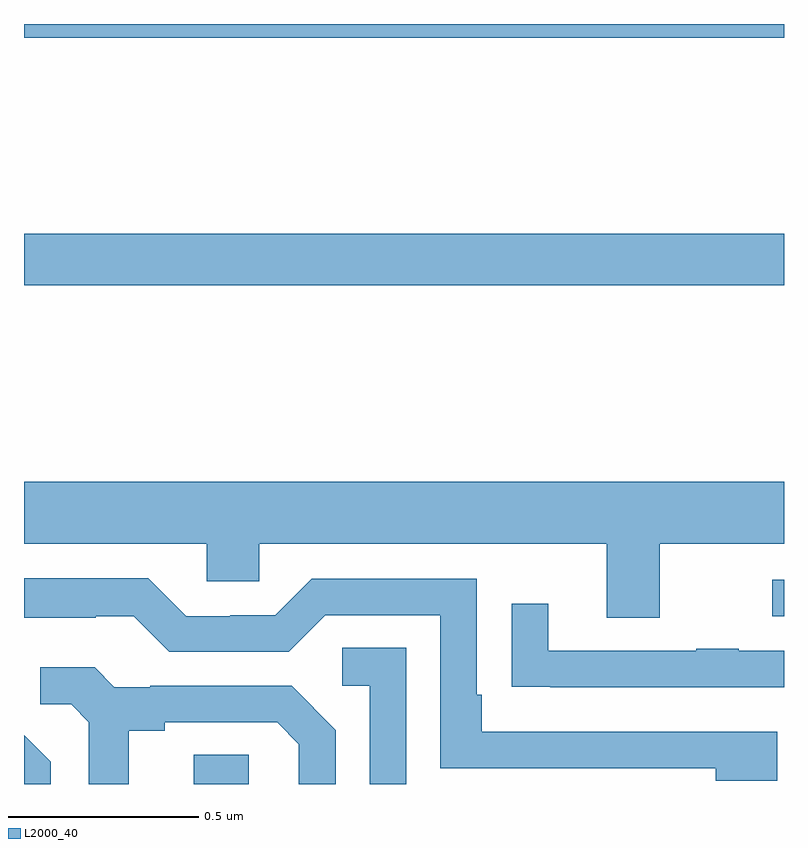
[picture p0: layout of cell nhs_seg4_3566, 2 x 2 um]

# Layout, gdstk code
import gdstk
lib = gdstk.Library(unit=1e-6, precision=1e-09)
def R(c, l, rs):  # rectangles x0, y0, x1, y1
    for r in rs: c.add(gdstk.rectangle(r[:2], r[2:], *l))
def P(c, l, *ps):  # polygons
    for p in ps: c.add(gdstk.Polygon(p, *l))
L2000_40 = (2000, 40)

nhs_seg4_3566 = lib.new_cell('nhs_seg4_3566')
R(nhs_seg4_3566, L2000_40, [(155.447,750.9,155.592,750.977), (156.969,751.341,157,751.437), (155,752.212,157,752.348), (155,752.864,157,752.9)])
P(nhs_seg4_3566, L2000_40, [(155,751.532),(155.481,751.532),(155.481,751.434),(155.619,751.434),(155.619,751.532),(156.533,751.532),(156.533,751.338),(156.673,751.338),(156.673,751.532),(157,751.532),(157,751.696),(155,751.696)],
  [(156.982,751.038),(156.205,751.038),(156.205,751.135),(156.192,751.135),(156.192,751.44),(155.757,751.44),(155.661,751.344),(155.543,751.344),(155.543,751.341),(155.427,751.341),(155.327,751.441),(155,751.441),(155,751.337),(155.189,751.337),(155.189,751.341),(155.289,751.341),(155.382,751.248),(155.697,751.248),(155.793,751.344),(156.096,751.344),(156.096,750.942),(156.821,750.942),(156.821,750.908),(156.982,750.908)],
  [(157,751.251),(156.881,751.251),(156.881,751.256),(156.769,751.256),(156.769,751.251),(156.379,751.251),(156.379,751.375),(156.283,751.375),(156.283,751.156),(156.385,751.156),(156.385,751.155),(157,751.155)],
  [(156.006,751.259),(155.838,751.259),(155.838,751.158),(155.91,751.158),(155.91,750.9),(156.006,750.9)],
  [(155.275,751.04),(155.371,751.04),(155.371,751.062),(155.666,751.062),(155.723,751.005),(155.723,750.9),(155.82,750.9),(155.82,751.042),(155.704,751.158),(155.332,751.158),(155.332,751.155),(155.238,751.155),(155.186,751.207),(155.043,751.207),(155.043,751.11),(155.124,751.11),(155.171,751.063),(155.171,750.9),(155.275,750.9)],
  [(155.07,750.958),(155,751.028),(155,750.9),(155.07,750.9)])

lib.write_gds('nhs_seg4_3566.gds')
